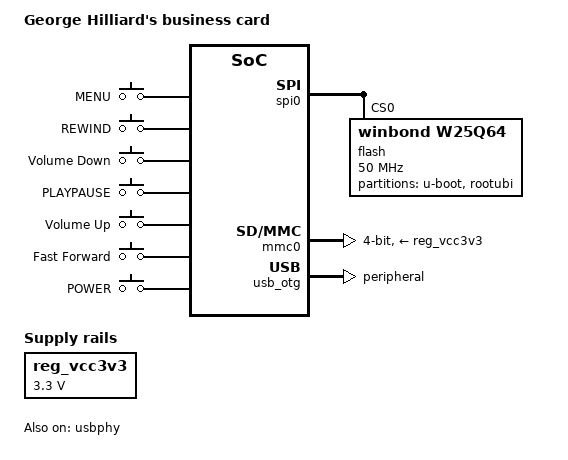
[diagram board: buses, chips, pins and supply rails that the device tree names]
// SPDX-License-Identifier: (GPL-2.0+ OR X11)
/*
 * Copyright 2019 George Hilliard <thirtythreeforty@gmail.com>
 */

/dts-v1/;
#include "suniv-f1c100s.dtsi"

#include <dt-bindings/gpio/gpio.h>
#include <dt-bindings/input/input.h>



/ {
	model = "George Hilliard's business card";
	compatible = "licheepi,licheepi-nano", "allwinner,suniv-f1c100s",
		     "allwinner,suniv";

	aliases {
		serial0 = &uart0;
		spi0 = &spi0;
	};

	chosen {
		stdout-path = "serial0:115200n8";
	};

	reg_vcc3v3: vcc3v3 {
		compatible = "regulator-fixed";
		regulator-name = "vcc3v3";
		regulator-min-microvolt = <3300000>;
		regulator-max-microvolt = <3300000>;
	};

	// leds {
	// 	compatible = "gpio-leds";
	// 	pinctrl-names = "default";
	// 	pinctrl-0 = <&led_pins>;

	// 	heartbeat {
	// 		label = "Heartbeat";
	// 		gpios = <&pio 3 7 GPIO_ACTIVE_LOW>;
	// 		default-state = "on";
	// 		linux,default-trigger = "heartbeat";
	// 	};
	// };


	

	lradc: lradc@1C23400 {
		compatible = "allwinner,sun4i-a10-lradc-keys";
		reg = <0x01C23400 0x100>;
		interrupts = <22>;
		vref-supply = <&reg_vcc3v3>; // TODO: Check this. Might be 3v0
		status = "okay";

		button-930 {
			label = "MENU";
			linux,code = <KEY_MENU>;
			channel = <0>;
			voltage = <930000>;
		};

		button-220 {
			label = "REWIND";
			linux,code = <KEY_REWIND>;
			channel = <0>;
			voltage = <220000>;
		};


		button-446 {
			label = "Volume Down";
			linux,code = <KEY_VOLUMEDOWN>;
			channel = <0>;
			voltage = <446000>;
		};


		button-1440 {
			label = "PLAYPAUSE";
			linux,code = <KEY_PLAYPAUSE>;
			channel = <0>;
			voltage = <1440000>;
		};

		button-666 {
			label = "Volume Up";
			linux,code = <KEY_VOLUMEUP>;
			channel = <0>;
			voltage = <666000>;
		};

		button-003 {
			label = "Fast Forward";
			linux,code = <KEY_FASTFORWARD>;
			channel = <0>;
			voltage = <003000>;
		};

		button_1171 {
			label = "POWER";
			linux,code = <KEY_POWER>;
			channel = <0>;
			voltage = <1171000>;
		};


	};
};

&pio {
	// led_pins: led_pins {
	// 	pins = "PD7";
	// 	function = "gpio_out";
	// };

};


&spi0 {
    pinctrl-names = "default";
    pinctrl-0 = <&spi0_pins_a>;
    status = "okay";
    flash: w25q64@0 {
        #address-cells = <1>;
        #size-cells = <1>;
        compatible = "winbond,w25q64", "jedec,spi-nor";
        reg = <0>;
        spi-max-frequency = <50000000>;
        partitions {
            compatible = "fixed-partitions";
            #address-cells = <1>;
            #size-cells = <1>;

            partition@0 {
                label = "u-boot";
                reg = <0x000000 0x40000>;
                //read-only;
            };

            partition@110000 {
                label = "rootubi";
                reg = <0x40000 0x7C0000>;
                //read-only;
            };
        };
    };
};

&mmc0 {
	vmmc-supply = <&reg_vcc3v3>;
	bus-width = <4>;
	broken-cd;
	status = "okay";
};

&otg_sram {
	status = "okay";
};

&uart0 {
	pinctrl-names = "default";
	pinctrl-0 = <&uart0_pe_pins>;
	status = "disabled";
};

&usb_otg {
	dr_mode = "peripheral";
	status = "okay";
};

&usbphy {
	// usb0_id_det-gpio = <&pio 4 2 GPIO_ACTIVE_HIGH>; /* PE2 */
	status = "okay";
};

